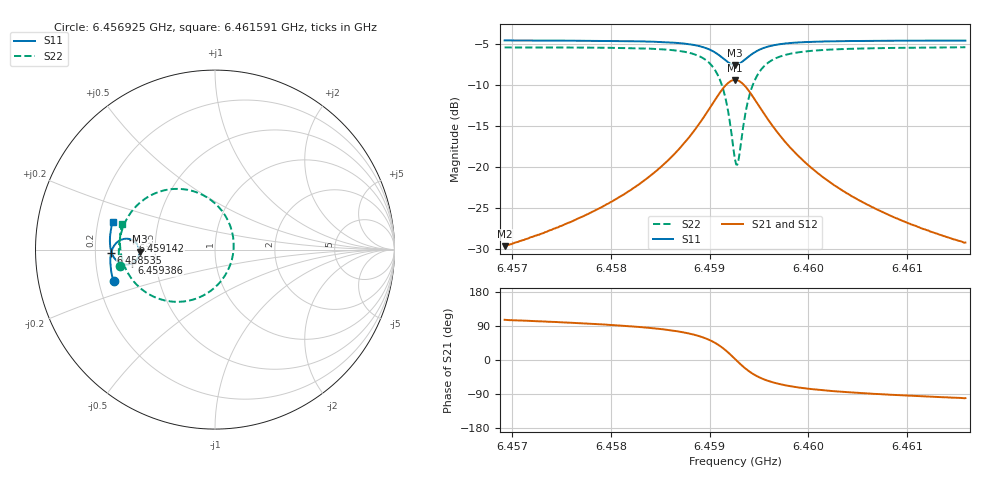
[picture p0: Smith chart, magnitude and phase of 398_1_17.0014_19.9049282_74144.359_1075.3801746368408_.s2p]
#  HZ  S  RI  R  50.00
! Rohde & Schwarz Vector Network Analyzer
! Rohde-Schwarz,ZNB20-2Port,1311601062101988,3.16
! Created: UTC 3/20/2024, 11:09:55 PM
! freq[Hz]  re:S11  im:S11  re:S21  im:S21  re:S12  im:S12  re:S22  im:S22
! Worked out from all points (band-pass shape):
!   401 points, 6.456925 GHz to 6.461591 GHz, reference 50 ohm
!   highest |S21| = -9.36 dB at 6.459258 GHz (marker M1); lowest = -29.6 dB at 6.456925 GHz (marker M2)
!   |S21| within 3 dB of the highest: 6.459026 GHz to 6.459492 GHz (466.2 kHz wide, 0.00722 % of centre)
!   lowest |S11| = -7.5 dB at 6.459258 GHz (marker M3), VSWR 2.45, Z = 20.4 - j0.547 ohm
!   |S11| at or under -10 dB: nowhere
!   |S22| runs from -19.7 to -5.4 dB; largest |S21 - S12| = 0.013
!   S11 on the Smith chart (normalised r, x): 6.456925 GHz: 0.26, -0.14; 6.458535 GHz: 0.27, -0.01; 6.459142 GHz: 0.37, +0.05; 6.459386 GHz: 0.37, -0.07; 6.461591 GHz: 0.26, +0.12
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6.4569251e9  -0.5654 -0.1762  -0.00916 0.0317  -0.00732 0.0318  -0.5294 -0.0894
6.4577067e9  -0.5801 -0.1082  -0.00583 0.0495  -0.00348 0.0489  -0.536 0.000912
6.4581266e9  -0.5833 -0.0665  -0.000444 0.068  0.00272 0.0668  -0.5288 0.066
6.4584882e9  -0.5798 -0.0237  0.0133 0.0973  0.0172 0.0947  -0.5041 0.1456
6.4585349e9  -0.5784 -0.0174  0.0166 0.1025  0.0206 0.0997  -0.4978 0.1586
6.4587449e9  -0.5665 0.0144  0.0422 0.134  0.0463 0.1292  -0.4503 0.2298
6.4588965e9  -0.5457 0.0405  0.084 0.1639  0.0874 0.1575  -0.3732 0.2938
6.4590482e9  -0.5002 0.0604  0.1745 0.1833  0.1754 0.176  -0.2082 0.3384
6.4591415e9  -0.4562 0.0508  0.2632 0.1533  0.2634 0.1473  -0.0439 0.2905
6.4591882e9  -0.4352 0.0324  0.3065 0.1112  0.3077 0.1061  0.0385 0.2163
6.4592582e9  -0.4204 -0.011  0.34 0.0161  0.3435 0.00914  0.1039 0.0399
6.4592815e9  -0.4221 -0.0268  0.3382 -0.0189  0.342 -0.027  0.1002 -0.0262
6.4592932e9  -0.4242 -0.0343  0.3348 -0.0359  0.3384 -0.0446  0.0936 -0.0582
6.4593398e9  -0.4395 -0.0599  0.3069 -0.0952  0.3091 -0.1068  0.0377 -0.1702
6.4593865e9  -0.4612 -0.0763  0.2656 -0.1361  0.2649 -0.1489  -0.0455 -0.2446
6.4594798e9  -0.504 -0.0829  0.1821 -0.1672  0.1761 -0.1783  -0.2116 -0.2909
6.4596315e9  -0.5473 -0.0624  0.0954 -0.1539  0.0871 -0.1599  -0.3771 -0.2431
6.4597948e9  -0.5686 -0.0348  0.051 -0.1266  0.0436 -0.1292  -0.4567 -0.1725
6.4600398e9  -0.5812 0.000762  0.0222 -0.0956  0.0165 -0.0962  -0.5044 -0.0911
6.4603897e9  -0.5856 0.0419  0.00636 -0.0691  0.00228 -0.0688  -0.5258 -0.0127
6.4608213e9  -0.5836 0.085  -0.00138 -0.0509  -0.0042 -0.0502  -0.53 0.0553
6.4615913e9  -0.571 0.1529  -0.0064 -0.0342  -0.00804 -0.0331  -0.5186 0.1449
